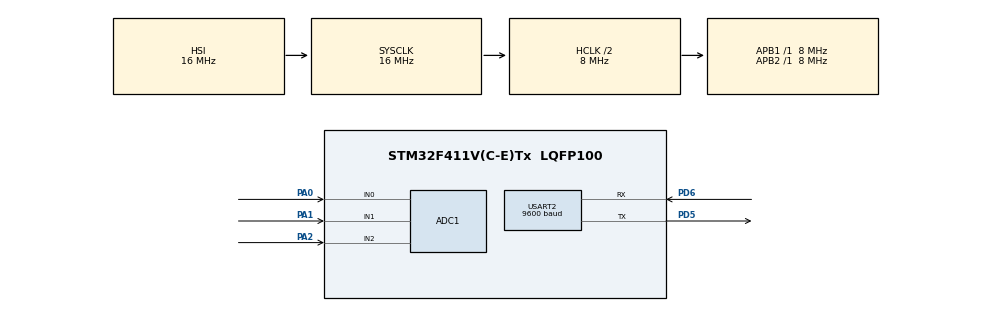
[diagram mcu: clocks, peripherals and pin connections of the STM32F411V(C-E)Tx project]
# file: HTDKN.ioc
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ADC1.Channel-2\#ChannelRegularConversion=ADC_CHANNEL_0
ADC1.NbrOfConversionFlag=1
ADC1.Rank-2\#ChannelRegularConversion=1
ADC1.SamplingTime-2\#ChannelRegularConversion=ADC_SAMPLETIME_3CYCLES
ADC1.master=1
Dma.Request0=USART2_RX
Dma.Request1=USART2_TX
Dma.USART2_RX.0.Direction=DMA_PERIPH_TO_MEMORY
Dma.USART2_RX.0.FIFOMode=DMA_FIFOMODE_DISABLE
Dma.USART2_RX.0.Instance=DMA1_Stream5
Dma.USART2_RX.0.MemDataAlignment=DMA_MDATAALIGN_BYTE
Dma.USART2_RX.0.MemInc=DMA_MINC_ENABLE
Dma.USART2_RX.0.Mode=DMA_NORMAL
Dma.USART2_RX.0.PeriphDataAlignment=DMA_PDATAALIGN_BYTE
Dma.USART2_RX.0.PeriphInc=DMA_PINC_DISABLE
Dma.USART2_RX.0.Priority=DMA_PRIORITY_LOW
Dma.USART2_TX.1.Direction=DMA_MEMORY_TO_PERIPH
Dma.USART2_TX.1.FIFOMode=DMA_FIFOMODE_DISABLE
Dma.USART2_TX.1.Instance=DMA1_Stream6
Dma.USART2_TX.1.MemDataAlignment=DMA_MDATAALIGN_BYTE
Dma.USART2_TX.1.MemInc=DMA_MINC_ENABLE
Dma.USART2_TX.1.Mode=DMA_NORMAL
Dma.USART2_TX.1.PeriphDataAlignment=DMA_PDATAALIGN_BYTE
Dma.USART2_TX.1.PeriphInc=DMA_PINC_DISABLE
Dma.USART2_TX.1.Priority=DMA_PRIORITY_LOW
Mcu.Family=STM32F4
Mcu.Name=STM32F411V(C-E)Tx
Mcu.Package=LQFP100
NVIC.DMA1_Stream5_IRQn=true\:0\:0\:false\:false\:true\:false\:true\:true
NVIC.DMA1_Stream6_IRQn=true\:0\:0\:false\:false\:true\:false\:true\:true
NVIC.PriorityGroup=NVIC_PRIORITYGROUP_4
NVIC.TIM2_IRQn=true\:0\:0\:false\:false\:true\:true\:true\:true
NVIC.USART2_IRQn=true\:0\:0\:false\:false\:true\:true\:true\:true
PA0-WKUP.Signal=ADCx_IN0
PA1.Signal=ADCx_IN1
PA13.Mode=Serial_Wire
PA13.Signal=SYS_JTMS-SWDIO
PA14.Mode=Serial_Wire
PA14.Signal=SYS_JTCK-SWCLK
PA2.Signal=ADCx_IN2
PD5.Mode=Asynchronous
PD5.Signal=USART2_TX
PD6.Mode=Asynchronous
PD6.Signal=USART2_RX
ProjectManager.HeapSize=0x200
ProjectManager.StackSize=0x400
ProjectManager.TargetToolchain=STM32CubeIDE
RCC.AHBCLKDivider=RCC_SYSCLK_DIV2
RCC.AHBFreq_Value=8000000
RCC.APB1Freq_Value=8000000
RCC.APB1TimFreq_Value=8000000
RCC.APB2Freq_Value=8000000
RCC.APB2TimFreq_Value=8000000
RCC.CortexFreq_Value=8000000
RCC.HCLKFreq_Value=8000000
RCC.HSE_VALUE=25000000
RCC.HSI_VALUE=16000000
RCC.LSE_VALUE=32768
RCC.SYSCLKFreq_VALUE=16000000
RCC.VCOOutputFreq_Value=192000000
SH.ADCx_IN0.0=ADC1_IN0,IN0
SH.ADCx_IN1.0=ADC1_IN1,IN1
SH.ADCx_IN2.0=ADC1_IN2,IN2
TIM2.Period=499
TIM2.Prescaler=79
USART2.BaudRate=9600
USART2.OverSampling=UART_OVERSAMPLING_8
USART2.VirtualMode=VM_ASYNC
VP_TIM2_VS_ClockSourceINT.Mode=Internal
board=custom

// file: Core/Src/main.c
/* USER CODE BEGIN Header */
/**
  ******************************************************************************
  * @file           : main.c
  * @brief          : Main program body
  ******************************************************************************
  * @attention
  *
  * Copyright (c) 2025 STMicroelectronics.
  * All rights reserved.
  *
  * This software is licensed under terms that can be found in the LICENSE file
  * in the root directory of this software component.
  * If no LICENSE file comes with this software, it is provided AS-IS.
  *
  ******************************************************************************
  */
/* USER CODE END Header */
#include "main.h"

/* USER CODE BEGIN Includes */
#include "Frame.h"
#include <math.h>
#include <stdlib.h>
#include <string.h>
#include <math.h>
/* USER CODE END Includes */

ADC_HandleTypeDef hadc1;

TIM_HandleTypeDef htim2;

UART_HandleTypeDef huart2;
DMA_HandleTypeDef hdma_usart2_rx;
DMA_HandleTypeDef hdma_usart2_tx;

void SystemClock_Config(void);
static void MX_GPIO_Init(void);
static void MX_DMA_Init(void);
static void MX_ADC1_Init(void);
static void MX_TIM2_Init(void);
static void MX_USART2_UART_Init(void);

/* USER CODE BEGIN 0 */
frame_t transmit;
uint8_t RX_data[20];
uint8_t *tran_data;
uint16_t frameSize = 0;
uint8_t is_transmitting = 0;

#define PI 3.14159265f

float get_ADC(uint32_t sample_index, uint32_t num_samples)
{
    float angle = (2.0f * PI * sample_index) / num_samples;
    float sine_value = sinf(angle);
    float scaled_value = sine_value * 30.0f;
    return scaled_value;
}

void SendADCValue(frame_t *trans) { // mo phong dang song ADC
    trans->payload = calloc(trans->length, sizeof(uint8_t));
    if (trans->payload == NULL) return;

    for (uint16_t i = 0; i < trans->length/4; i++) {
        float adc_value = get_ADC(i,trans->length/4); // Giả định hàm do đồng nghiệp bạn cung cấp
        memcpy(&trans->payload[i * 4], &adc_value, 4); // Sao chép 4 byte của float
    }
}

void HAL_TIM_PeriodElapsedCallback(TIM_HandleTypeDef *htim){
	if (htim == &htim2 && is_transmitting == 0 && tran_data != NULL) {
	        is_transmitting = 1;  // Đánh dấu đang truyền
	        HAL_UART_Transmit_DMA(&huart2, tran_data,transmit.length + 7);
	}
}

uint16_t check = 0;
uint32_t rx_data = 0;
void HAL_UARTEx_RxEventCallback(UART_HandleTypeDef *huart, uint16_t Size){
	uint32_t rx_data = 0;
	rx_data = atoi((char*)RX_data); // string => int
	transmit.length = floorf(5000/rx_data)*4;
	SendADCValue(&transmit);
	frameSize = 7 + transmit.length*4;
	tran_data = calloc(frameSize,sizeof(uint8_t));
	packframe(tran_data, &transmit, 0x20);
	HAL_TIM_Base_Start_IT(&htim2);
	HAL_UARTEx_ReceiveToIdle_DMA(&huart2, RX_data, 11);
}
void HAL_UART_TxCpltCallback(UART_HandleTypeDef *huart) {
    if (huart == &huart2) {
        free(tran_data);
        free(transmit.payload);
        is_transmitting = 0;
    }
}

/* USER CODE END 0 */

int main(void)
{

  /* MCU Configuration--------------------------------------------------------*/

  /* Reset of all peripherals, Initializes the Flash interface and the Systick. */
  HAL_Init();

  /* Configure the system clock */
  SystemClock_Config();

  /* Initialize all configured peripherals */
  MX_GPIO_Init();
  MX_DMA_Init();
  MX_ADC1_Init();
  MX_TIM2_Init();
  MX_USART2_UART_Init();
  /* USER CODE BEGIN 2 */
  transmit.start_bit=0xAA;
  transmit.end = 0XAF;
  HAL_UARTEx_ReceiveToIdle_DMA(&huart2, RX_data, 11);

  /* USER CODE END 2 */

  /* Infinite loop */
  while (1)
  {

  }
}

void SystemClock_Config(void)
{
  RCC_OscInitTypeDef RCC_OscInitStruct = {0};
  RCC_ClkInitTypeDef RCC_ClkInitStruct = {0};

  /** Configure the main internal regulator output voltage
  */
  __HAL_RCC_PWR_CLK_ENABLE();
  __HAL_PWR_VOLTAGESCALING_CONFIG(PWR_REGULATOR_VOLTAGE_SCALE1);

  /** Initializes the RCC Oscillators according to the specified parameters
  * in the RCC_OscInitTypeDef structure.
  */
  RCC_OscInitStruct.OscillatorType = RCC_OSCILLATORTYPE_HSI;
  RCC_OscInitStruct.HSIState = RCC_HSI_ON;
  RCC_OscInitStruct.HSICalibrationValue = RCC_HSICALIBRATION_DEFAULT;
  RCC_OscInitStruct.PLL.PLLState = RCC_PLL_NONE;
  if (HAL_RCC_OscConfig(&RCC_OscInitStruct) != HAL_OK)
  {
    Error_Handler();
  }

  /** Initializes the CPU, AHB and APB buses clocks
  */
  RCC_ClkInitStruct.ClockType = RCC_CLOCKTYPE_HCLK|RCC_CLOCKTYPE_SYSCLK
                              |RCC_CLOCKTYPE_PCLK1|RCC_CLOCKTYPE_PCLK2;
  RCC_ClkInitStruct.SYSCLKSource = RCC_SYSCLKSOURCE_HSI;
  RCC_ClkInitStruct.AHBCLKDivider = RCC_SYSCLK_DIV2;
  RCC_ClkInitStruct.APB1CLKDivider = RCC_HCLK_DIV1;
  RCC_ClkInitStruct.APB2CLKDivider = RCC_HCLK_DIV1;

  if (HAL_RCC_ClockConfig(&RCC_ClkInitStruct, FLASH_LATENCY_0) != HAL_OK)
  {
    Error_Handler();
  }
}

static void MX_ADC1_Init(void)
{

  ADC_ChannelConfTypeDef sConfig = {0};

  /** Configure the global features of the ADC (Clock, Resolution, Data Alignment and number of conversion)
  */
  hadc1.Instance = ADC1;
  hadc1.Init.ClockPrescaler = ADC_CLOCK_SYNC_PCLK_DIV2;
  hadc1.Init.Resolution = ADC_RESOLUTION_12B;
  hadc1.Init.ScanConvMode = DISABLE;
  hadc1.Init.ContinuousConvMode = DISABLE;
  hadc1.Init.DiscontinuousConvMode = DISABLE;
  hadc1.Init.ExternalTrigConvEdge = ADC_EXTERNALTRIGCONVEDGE_NONE;
  hadc1.Init.ExternalTrigConv = ADC_SOFTWARE_START;
  hadc1.Init.DataAlign = ADC_DATAALIGN_RIGHT;
  hadc1.Init.NbrOfConversion = 1;
  hadc1.Init.DMAContinuousRequests = DISABLE;
  hadc1.Init.EOCSelection = ADC_EOC_SINGLE_CONV;
  if (HAL_ADC_Init(&hadc1) != HAL_OK)
  {
    Error_Handler();
  }

  /** Configure for the selected ADC regular channel its corresponding rank in the sequencer and its sample time.
  */
  sConfig.Channel = ADC_CHANNEL_0;
  sConfig.Rank = 1;
  sConfig.SamplingTime = ADC_SAMPLETIME_3CYCLES;
  if (HAL_ADC_ConfigChannel(&hadc1, &sConfig) != HAL_OK)
  {
    Error_Handler();
  }

}

static void MX_TIM2_Init(void)
{

  TIM_ClockConfigTypeDef sClockSourceConfig = {0};
  TIM_MasterConfigTypeDef sMasterConfig = {0};

  htim2.Instance = TIM2;
  htim2.Init.Prescaler = 79;
  htim2.Init.CounterMode = TIM_COUNTERMODE_UP;
  htim2.Init.Period = 499;
  htim2.Init.ClockDivision = TIM_CLOCKDIVISION_DIV1;
  htim2.Init.AutoReloadPreload = TIM_AUTORELOAD_PRELOAD_DISABLE;
  if (HAL_TIM_Base_Init(&htim2) != HAL_OK)
  {
    Error_Handler();
  }
  sClockSourceConfig.ClockSource = TIM_CLOCKSOURCE_INTERNAL;
  if (HAL_TIM_ConfigClockSource(&htim2, &sClockSourceConfig) != HAL_OK)
  {
    Error_Handler();
  }
  sMasterConfig.MasterOutputTrigger = TIM_TRGO_RESET;
  sMasterConfig.MasterSlaveMode = TIM_MASTERSLAVEMODE_DISABLE;
  if (HAL_TIMEx_MasterConfigSynchronization(&htim2, &sMasterConfig) != HAL_OK)
  {
    Error_Handler();
  }

}

static void MX_USART2_UART_Init(void)
{

  huart2.Instance = USART2;
  huart2.Init.BaudRate = 9600;
  huart2.Init.WordLength = UART_WORDLENGTH_8B;
  huart2.Init.StopBits = UART_STOPBITS_1;
  huart2.Init.Parity = UART_PARITY_NONE;
  huart2.Init.Mode = UART_MODE_TX_RX;
  huart2.Init.HwFlowCtl = UART_HWCONTROL_NONE;
  huart2.Init.OverSampling = UART_OVERSAMPLING_8;
  if (HAL_UART_Init(&huart2) != HAL_OK)
  {
    Error_Handler();
  }

}

static void MX_DMA_Init(void)
{

  /* DMA controller clock enable */
  __HAL_RCC_DMA1_CLK_ENABLE();

  /* DMA interrupt init */
  /* DMA1_Stream5_IRQn interrupt configuration */
  HAL_NVIC_SetPriority(DMA1_Stream5_IRQn, 0, 0);
  HAL_NVIC_EnableIRQ(DMA1_Stream5_IRQn);
  /* DMA1_Stream6_IRQn interrupt configuration */
  HAL_NVIC_SetPriority(DMA1_Stream6_IRQn, 0, 0);
  HAL_NVIC_EnableIRQ(DMA1_Stream6_IRQn);

}

static void MX_GPIO_Init(void)
{

  /* GPIO Ports Clock Enable */
  __HAL_RCC_GPIOA_CLK_ENABLE();
  __HAL_RCC_GPIOD_CLK_ENABLE();

}

void Error_Handler(void)
{
  __disable_irq();
  while (1)
  {
  }
}
